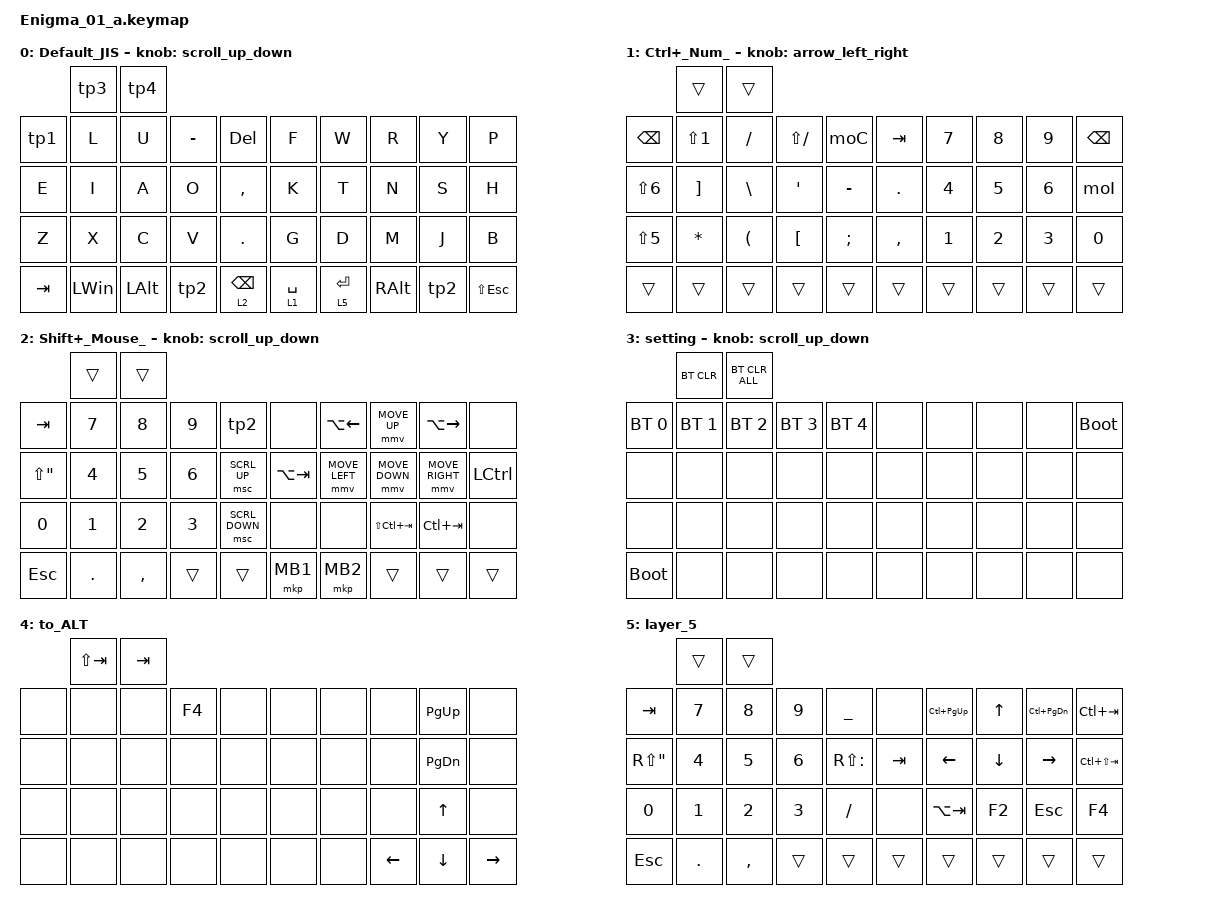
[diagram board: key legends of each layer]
#include <behaviors.dtsi>
#include <dt-bindings/zmk/bt.h>
#include <dt-bindings/zmk/keys.h>
#include <dt-bindings/zmk/pointing.h>

#define ZMK_POINTING_DEFAULT_SCRL_VAL 100
#define JP_DQUOTE       AT                // "
#define JP_AMPERSAND    CARET             // &
#define JP_QUOTE        AMPERSAND         // '
#define JP_EQUAL        UNDER             // =
#define JP_CARET        EQUAL             // ^
#define JP_YEN          0x89              // ¥
#define JP_PLUS         COLON             // +
#define JP_TILDE        PLUS              // ~
#define JP_PIPE         LS(0x89)          // |
#define JP_AT           LEFT_BRACKET      // @
#define JP_COLON        SINGLE_QUOTE      // :
#define JP_ASTERISK     DOUBLE_QUOTES     // *
#define JP_BACKQUOTE    LEFT_BRACE        // `
#define JP_UNDERSCORE   LS(0x87)          // _
#define JP_LBRACKET     RIGHT_BRACKET     // [
#define JP_RBRACKET     BACKSLASH         // ]
#define JP_LPAREN       ASTERISK          // (
#define JP_RPAREN       LEFT_PARENTHESIS  // )
#define JP_LBRACE       RIGHT_BRACE       // {
#define JP_RBRACE       PIPE              // }
#define JP_KANA         LANGUAGE_1        // かな
#define JP_EISU         LANGUAGE_2        // 英数
#define JP_HANZEN       GRAVE             // 半角/全角
#define JP_BSLH  INT1         // (backslash)

/ {
    // zmk-listeners

    layer_listeners {
        compatible = "zmk,layer-listeners";

        release_alt {
            layers = <4>;
            bindings = <&kt_on LEFT_ALT &kt_off LEFT_ALT>;
        };
    };

    macros {
        // zmk-listeners

        to_kp: to_kp {
            compatible = "zmk,behavior-macro-two-param";
            #binding-cells = <2>;
            bindings = <&macro_param_1to1 &to MACRO_PLACEHOLDER &macro_param_2to1 &kp MACRO_PLACEHOLDER>;
            label = "to_kp";
        };

        // zmk-listeners

        mo_to_0: mo_to_0 {
            compatible = "zmk,behavior-macro-one-param";
            wait-ms = <0>;
            tap-ms = <0>;
            #binding-cells = <1>;
            bindings =
                <&macro_press>,
                <&macro_param_1to1 &mo MACRO_PLACEHOLDER>,
                <&macro_tap>,
                <&macro_pause_for_release>,
                <&macro_release>,
                <&macro_param_1to1 &mo MACRO_PLACEHOLDER>,
                <&macro_tap>,
                <&to 0>;

            label = "MO_to_0";
        };
    };

    mo2: mo2 {
        compatible = "zmk,behavior-mod-morph";
        #binding-cells = <0>;
        bindings = <&kp N2>, <&kp AT>;

        mods = <(MOD_LSFT|MOD_RSFT)>;
    };

    mo6: mo6 {
        compatible = "zmk,behavior-mod-morph";
        #binding-cells = <0>;
        bindings = <&kp N6>, <&kp CARET>;

        mods = <(MOD_LSFT|MOD_RSFT)>;
    };

    mo7: mo7 {
        compatible = "zmk,behavior-mod-morph";
        #binding-cells = <0>;
        bindings = <&kp N7>, <&kp AMPS>;

        mods = <(MOD_LSFT|MOD_RSFT)>;
    };

    mo8: mo8 {
        compatible = "zmk,behavior-mod-morph";
        #binding-cells = <0>;
        bindings = <&kp N8>, <&kp ASTRK>;

        mods = <(MOD_LSFT|MOD_RSFT)>;
    };

    mo9: mo9 {
        compatible = "zmk,behavior-mod-morph";
        #binding-cells = <0>;
        bindings = <&kp N9>, <&kp LPAR>;

        mods = <(MOD_LSFT|MOD_RSFT)>;
    };

    mo0: mo0 {
        compatible = "zmk,behavior-mod-morph";
        #binding-cells = <0>;
        bindings = <&kp N0>, <&kp LS(N9)>;

        mods = <(MOD_LSFT|MOD_RSFT)>;
    };

    moA: moA {
        compatible = "zmk,behavior-mod-morph";
        #binding-cells = <0>;
        bindings = <&kp MINUS>, <&kp UNDERSCORE>;

        mods = <(MOD_LSFT|MOD_RSFT)>;
    };

    moB: moB {
        compatible = "zmk,behavior-mod-morph";
        #binding-cells = <0>;
        bindings = <&kp EQUAL>, <&kp PLUS>;

        mods = <(MOD_LSFT|MOD_RSFT)>;
    };

    moC: moC {
        compatible = "zmk,behavior-mod-morph";
        #binding-cells = <0>;
        bindings = <&kp INT3>, <&kp JP_PIPE>;

        mods = <(MOD_LSFT|MOD_RSFT)>;
        keep-mods = <(MOD_LSFT|MOD_RSFT)>;
    };

    moD: moD {
        compatible = "zmk,behavior-mod-morph";
        #binding-cells = <0>;
        bindings = <&kp LBKT>, <&kp LBRC>;

        mods = <(MOD_LSFT|MOD_RSFT)>;
    };

    moE: moE {
        compatible = "zmk,behavior-mod-morph";
        #binding-cells = <0>;
        bindings = <&kp RBKT>, <&kp RBRC>;

        mods = <(MOD_LSFT|MOD_RSFT)>;
    };

    moF: moF {
        compatible = "zmk,behavior-mod-morph";
        #binding-cells = <0>;
        bindings = <&kp SEMI>, <&kp KP_PLUS>;

        mods = <(MOD_LSFT|MOD_RSFT)>;
    };

    moG: moG {
        compatible = "zmk,behavior-mod-morph";
        #binding-cells = <0>;
        bindings = <&kp APOSTROPHE>, <&kp DQT>;

        mods = <(MOD_LSFT|MOD_RSFT)>;
    };

    moH: moH {
        compatible = "zmk,behavior-mod-morph";
        #binding-cells = <0>;
        bindings = <&kp BACKSLASH>, <&kp TILDE2>;

        mods = <(MOD_LSFT|MOD_RSFT)>;
    };

    moI: moI {
        compatible = "zmk,behavior-mod-morph";
        #binding-cells = <0>;
        bindings = <&kp JP_BSLH>, <&kp JP_UNDERSCORE>;

        mods = <(MOD_LSFT|MOD_RSFT)>;
        keep-mods = <(MOD_LSFT|MOD_RSFT)>;
    };

    behaviors {
        // Layout shift

        original_key_press: original_key_press {
            compatible = "zmk,behavior-key-press";
            #binding-cells = <1>;
            label = "KEY_PRESS";
        };

        // Layout shift

        kp: key_press {
            compatible = "zmk,behavior-layout-shift-key-press";
            #binding-cells = <1>;
            label = "LAYOUT_SHIFT_KEY_PRESS";
        };

        // zmk-listeners

        kt_on: key_toggle_on_only {
            compatible = "zmk,behavior-key-toggle";
            #binding-cells = <1>;
            display-name = "Key Toggle On";
            toggle-mode = "on";
        };

        // zmk-listeners

        kt_off: key_toggle_off_only {
            compatible = "zmk,behavior-key-toggle";
            #binding-cells = <1>;
            display-name = "Key Toggle Off";
            toggle-mode = "off";
        };

        // zmk-listeners

        lt_to_0: lt_to_0 {
            compatible = "zmk,behavior-hold-tap";
            label = "LT_to_0";
            bindings = <&mo_to_0>, <&kp>;

            #binding-cells = <2>;
            tapping-term-ms = <200>;
            quick-tap-ms = <200>;
            flavor = "balanced";
        };

        scroll_up_down: behavior_sensor_rotate_mouse_wheel_up_down {
            compatible = "zmk,behavior-sensor-rotate";
            #sensor-binding-cells = <0>;
            bindings = <&msc SCRL_DOWN>, <&msc SCRL_UP>;

            tap-ms = <20>;
        };

        scroll_left_right: behavior_sensor_rotate_mouse_wheel_left_right {
            compatible = "zmk,behavior-sensor-rotate";
            #sensor-binding-cells = <0>;
            bindings = <&msc SCRL_LEFT>, <&msc SCRL_RIGHT>;

            tap-ms = <20>;
        };

        arrow_left_right: behavior_sensor_rotate_arrow_le {
            compatible = "zmk,behavior-sensor-rotate";
            #sensor-binding-cells = <0>;
            bindings = <&kp LEFT>, <&kp RIGHT>;

            tap-ms = <20>;
        };

        arrow_up_down: behavior_sensor_rotate_arrow_up {
            compatible = "zmk,behavior-sensor-rotate";
            #sensor-binding-cells = <0>;
            bindings = <&kp UP>, <&kp DOWN>;

            tap-ms = <20>;
        };

        page_up_down: behavior_sensor_rotate_page_up_ {
            compatible = "zmk,behavior-sensor-rotate";
            #sensor-binding-cells = <0>;
            bindings = <&kp PAGE_UP>, <&kp PAGE_DOWN>;

            tap-ms = <20>;
        };

        tp1: tab_ctrl_q {
            compatible = "zmk,behavior-tap-dance";
            label = "tab_ctrl_q";
            #binding-cells = <0>;
            bindings = <&mt LCTRL TAB>, <&kp Q>;
        };

        tp2: shift_ctrl {
            compatible = "zmk,behavior-tap-dance";
            label = "shift_ctrl";
            #binding-cells = <0>;
            tapping-term-ms = <230>;
            bindings = <&kp LSHIFT>, <&kp LCTRL>;
        };

        tp4: f7_toALT_f8 {
            compatible = "zmk,behavior-tap-dance";
            label = "f7_toALT_f8";
            #binding-cells = <0>;
            bindings = <&lt_to_0 4 F7>, <&kp F8>;
        };

        tp3: hz_toALT {
            compatible = "zmk,behavior-tap-dance";
            label = "hz_toALT";
            #binding-cells = <0>;
            bindings = <&lt_to_0 4 GRAVE>;
        };
    };

    combos {
        compatible = "zmk,combos";

        mo_setting {
            bindings = <&mo 3>;
            key-positions = <36 35>;
        };
    };

    keymap {
        compatible = "zmk,keymap";

        Default_JIS {
            bindings = <
         &tp3          &tp4
&tp1     &kp L         &kp U         &kp MINUS  &kp DELETE       &kp F        &kp W        &kp R     &kp Y  &kp P
&kp E    &kp I         &kp A         &kp O      &kp COMMA        &kp K        &kp T        &kp N     &kp S  &kp H
&kp Z    &kp X         &kp C         &kp V      &kp PERIOD       &kp G        &kp D        &kp M     &kp J  &kp B
&kp TAB  &kp LEFT_WIN  &kp LEFT_ALT  &tp2       &lt 2 BACKSPACE  &lt 1 SPACE  &lt 5 ENTER  &kp RALT  &tp2   &kp LS(ESCAPE)
            >;

            sensor-bindings = <&scroll_up_down>;
        };

        Ctrl+_Num_ {
            bindings = <
                  &trans             &trans
&kp BACKSPACE     &kp LS(NUMBER_1)   &kp SLASH             &kp LS(SLASH)     &moC           &kp TAB     &kp N7        &kp N8        &kp N9        &kp BACKSPACE
&kp LS(NUMBER_6)  &kp RIGHT_BRACKET  &kp BACKSLASH         &kp SINGLE_QUOTE  &kp MINUS      &kp PERIOD  &kp NUMBER_4  &kp N5        &kp NUMBER_6  &moI
&kp LS(N5)        &kp ASTERISK       &kp LEFT_PARENTHESIS  &kp LEFT_BRACKET  &kp SEMICOLON  &kp COMMA   &kp NUMBER_1  &kp NUMBER_2  &kp NUMBER_3  &kp NUMBER_0
&trans            &trans             &trans                &trans            &trans         &trans      &trans        &trans        &trans        &trans
            >;

            sensor-bindings = <&arrow_left_right>;
        };

        Shift+_Mouse_ {
            bindings = <
                       &trans        &trans
&kp TAB                &kp N7        &kp N8        &kp N9        &tp2            &none        &kp LA(LEFT_ARROW)  &mmv MOVE_UP     &kp LA(RIGHT_ARROW)  &none
&kp LS(DOUBLE_QUOTES)  &kp NUMBER_4  &kp N5        &kp NUMBER_6  &msc SCRL_UP    &kp LA(TAB)  &mmv MOVE_LEFT      &mmv MOVE_DOWN   &mmv MOVE_RIGHT      &kp LCTRL
&kp N0                 &kp NUMBER_1  &kp NUMBER_2  &kp NUMBER_3  &msc SCRL_DOWN  &none        &none               &kp LS(LC(TAB))  &kp LC(TAB)          &none
&kp ESCAPE             &kp PERIOD    &kp COMMA     &trans        &trans          &mkp MB1     &mkp MB2            &trans           &trans               &trans
            >;

            sensor-bindings = <&scroll_up_down>;
        };

        setting {
            bindings = <
              &bt BT_CLR    &bt BT_CLR_ALL
&bt BT_SEL 0  &bt BT_SEL 1  &bt BT_SEL 2    &bt BT_SEL 3  &bt BT_SEL 4  &none  &none  &none  &none  &bootloader
&none         &none         &none           &none         &none         &none  &none  &none  &none  &none
&none         &none         &none           &none         &none         &none  &none  &none  &none  &none
&bootloader   &none         &none           &none         &none         &none  &none  &none  &none  &none
            >;

            sensor-bindings = <&scroll_up_down>;
        };

        to_ALT {
            bindings = <
       &kp LS(TAB)  &kp TAB
&none  &none        &none    &kp F4  &none  &none  &none  &none     &kp PAGE_UP    &none
&none  &none        &none    &none   &none  &none  &none  &none     &kp PAGE_DOWN  &none
&none  &none        &none    &none   &none  &none  &none  &none     &kp UP         &none
&none  &none        &none    &none   &none  &none  &none  &kp LEFT  &kp DOWN       &kp RIGHT
            >;
        };

        layer_5 {
            bindings = <
                       &trans        &trans
&kp TAB                &kp N7        &kp N8        &kp N9        &kp UNDERSCORE  &none    &kp LC(PG_UP)   &kp UP_ARROW    &kp LC(PAGE_DOWN)  &kp LC(TAB)
&kp RS(DOUBLE_QUOTES)  &kp NUMBER_4  &kp N5        &kp NUMBER_6  &kp RS(COLON)   &kp TAB  &kp LEFT_ARROW  &kp DOWN_ARROW  &kp RIGHT_ARROW    &kp LC(LS(TAB))
&kp N0                 &kp NUMBER_1  &kp NUMBER_2  &kp NUMBER_3  &kp SLASH       &none    &kp LA(TAB)     &kp F2          &kp ESCAPE         &kp F4
&kp ESCAPE             &kp PERIOD    &kp COMMA     &trans        &trans          &trans   &trans          &trans          &trans             &trans
            >;
        };
    };
};
